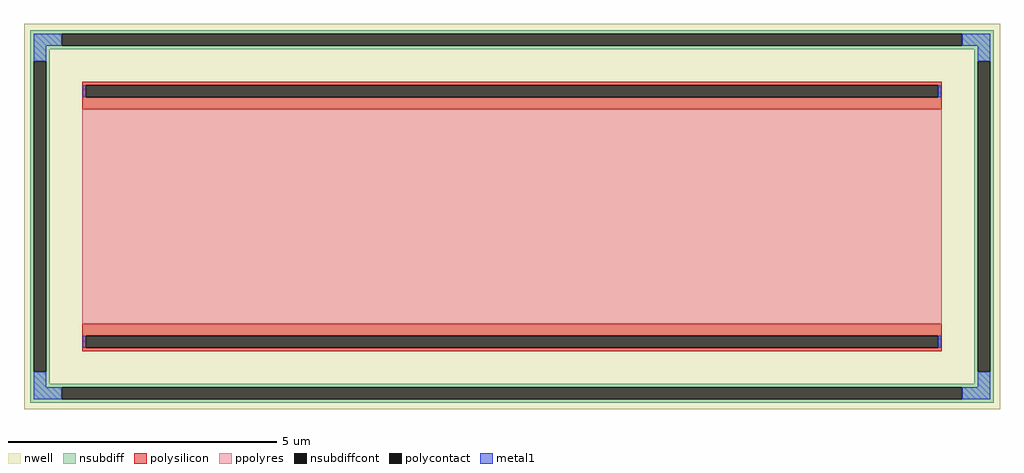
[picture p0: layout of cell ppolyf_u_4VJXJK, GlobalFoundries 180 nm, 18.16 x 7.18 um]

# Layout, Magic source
magic
tech gf180mcuD
magscale 1 10
<< nwell >>
rect -1816 -718 1816 718
<< nsubdiff >>
rect -1792 681 1792 694
rect -1792 635 -1676 681
rect 1676 635 1792 681
rect -1792 622 1792 635
rect -1792 578 -1720 622
rect -1792 -578 -1779 578
rect -1733 -578 -1720 578
rect 1720 578 1792 622
rect -1792 -622 -1720 -578
rect 1720 -578 1733 578
rect 1779 -578 1792 578
rect 1720 -622 1792 -578
rect -1792 -635 1792 -622
rect -1792 -681 -1676 -635
rect 1676 -681 1792 -635
rect -1792 -694 1792 -681
<< nsubdiffcont >>
rect -1676 635 1676 681
rect -1779 -578 -1733 578
rect 1733 -578 1779 578
rect -1676 -681 1676 -635
<< polysilicon >>
rect -1600 489 1600 502
rect -1600 443 -1587 489
rect 1587 443 1600 489
rect -1600 400 1600 443
rect -1600 -443 1600 -400
rect -1600 -489 -1587 -443
rect 1587 -489 1600 -443
rect -1600 -502 1600 -489
<< polycontact >>
rect -1587 443 1587 489
rect -1587 -489 1587 -443
<< ppolyres >>
rect -1600 -400 1600 400
<< metal1 >>
rect -1779 635 -1676 681
rect 1676 635 1779 681
rect -1779 578 -1733 635
rect 1733 578 1779 635
rect -1598 443 -1587 489
rect 1587 443 1598 489
rect -1598 -489 -1587 -443
rect 1587 -489 1598 -443
rect -1779 -635 -1733 -578
rect 1733 -635 1779 -578
rect -1779 -681 -1676 -635
rect 1676 -681 1779 -635
<< properties >>
string FIXED_BBOX -1756 -658 1756 658
string gencell ppolyf_u
string library gf180mcu
string parameters w 16 l 4 m 1 nx 1 wmin 0.80 lmin 1.00 class resistor rho 315 val 79.096 dummy 0 dw 0.07 term 0.0 sterm 0.0 caplen 0.4 snake 0 glc 1 grc 1 gtc 1 gbc 1 roverlap 0 endcov 100 full_metal 1
string ppolyf_u_4VJXJK parameters
<< end >>
